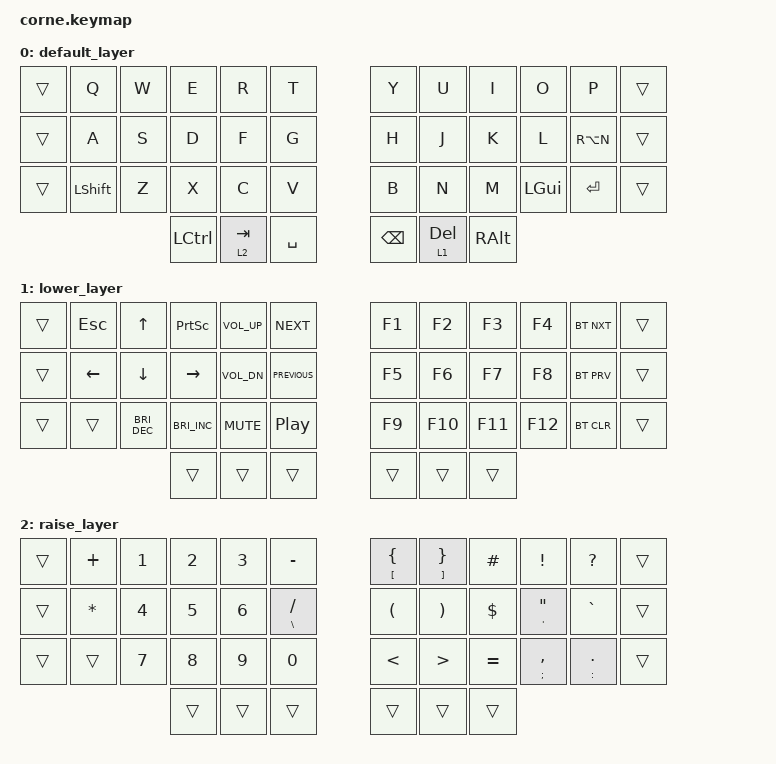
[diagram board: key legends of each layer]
#include <behaviors.dtsi>
#include <dt-bindings/zmk/keys.h>
#include <dt-bindings/zmk/bt.h>
#include <dt-bindings/zmk/bt.h>
        
/ {
        keymap {
                compatible = "zmk,keymap";

                default_layer {

                        //      |   Q   |   W   |   E   |   R   |   T   |           |   Y   |   U   |   I   |   O   |   P   |
                        //      |   A   |   S   |   D   |   F   | G GUI |           | H GUI |   J   |   K   |   L   |   Ñ   |
                        //      | SHIFT |   Z   |   X   |   C   |   V   |           |   B   |   N   |   M   |  ESC  | ENTER |
                        //                      | CNTRL | 2 TAB | SPACE |           | BKSPC | 1 DEL |  ALT  |

                        bindings = <
                        
                        &trans  &kp Q   &kp W   &kp E   &kp R   &kp T   &kp Y   &kp U   &kp I   &kp O   &kp P &trans

                        &trans  &kp A   &kp S   &kp D   &kp F   &kp G  &kp H &kp J   &kp K   &kp L &kp RA(N) &trans

                        &trans  &kp LEFT_SHIFT  &kp Z   &kp X   &kp C   &kp V   &kp B   &kp N   &kp M   &kp LGUI &kp RET &trans

                        &kp LCTRL       &lt 2 TAB       &kp SPACE        &kp BSPC       &lt 1 DEL       &kp RALT
                  
                        >;
                };

                lower_layer {

                        //      |  ESC  |   ↑   | PRINT | VOL + |  NXT  |           |  F1   |  F2   |  F3   |  F4   | B-NEXT |
                        //      |   ←   |   ↓   |   →   | VOL - |  PRV  |           |  F5   |  F6   |  F7   |  F8   | B-PREV |
                        //      | SHIFT | LUX - | LUX + | MUTE  |  PLY  |           |  F9   |  F10  |  F11  |  F12  |  BCLR  |
                        //                      | CNTRL |  TAB  | SPACE |           | BKSPC | {DEL} |  ALT  |
                        
                        bindings = <
                        
                        &trans  &kp ESC  &kp UP &kp PRINTSCREEN &kp C_VOL_UP    &kp C_NEXT      &kp F1  &kp F2  &kp F3  &kp F4  &bt BT_NXT      &trans

                        &trans  &kp LEFT        &kp DOWN        &kp RIGHT       &kp C_VOL_DN    &kp C_PREVIOUS  &kp F5  &kp F6  &kp F7  &kp F8   &bt BT_PRV     &trans

                        &trans  &trans      &kp C_BRIGHTNESS_DEC    &kp C_BRIGHTNESS_INC    &kp C_MUTE      &kp C_PLAY_PAUSE        &kp F9  &kp F10 &kp F11 &kp F12 &bt BT_CLR      &trans

                        &trans  &trans  &trans  &trans &trans &trans
                  
                        >;
                };

                raise_layer {
                        
                        //      |   +   |   1   |   2   |   3   |   -   |           |   {   |   }   |   #   |   !   |   ?   |
                        //      |   *   |   4   |   5   |   6   |   /   |           |   (   |   )   |   $   |   "   |   ´   |
                        //      | SHIFT |   7   |   8   |   9   |   0   |           |   <   |   >   |   =   |   ,   |   .   |
                        //                      | CNTRL | {TAB} | SPACE |           | BKSPC |  DEL  |  ALT  |

                        bindings = <
                        
                        &trans  &kp PLUS        &kp N1   &kp N2   &kp N3   &kp MINUS       &mt LEFT_BRACKET LEFT_BRACE  &mt RIGHT_BRACKET RIGHT_BRACE &kp HASH        &kp EXCLAMATION &kp QUESTION    &trans

                        &trans  &kp ASTERISK    &kp N4   &kp N5   &kp N6   &mt BACKSLASH SLASH       &kp LEFT_PARENTHESIS     &kp RIGHT_PARENTHESIS  &kp DOLLAR      &mt SINGLE_QUOTE DOUBLE_QUOTES  &kp GRAVE       &trans

                        &trans  &trans  &kp N7 &kp N8  &kp N9 &kp N0 &kp LESS_THAN  &kp GREATER_THAN &kp EQUAL &mt SEMICOLON COMMA    &mt COLON PERIOD      &trans

                        &trans  &trans  &trans  &trans &trans &trans
                  
                        >;
                };
        };
};
